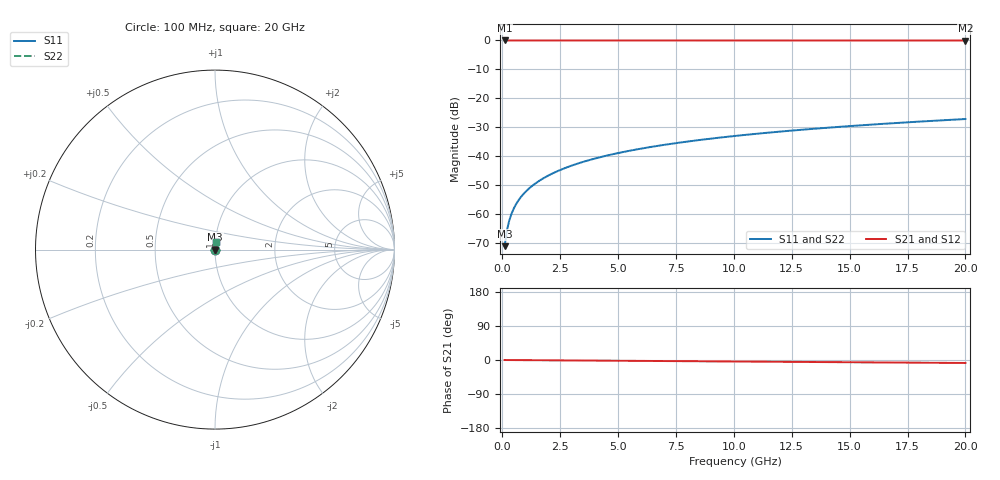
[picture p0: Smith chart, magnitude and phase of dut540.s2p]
! Touchstone file exported from HFSS 2026.1.0
!  File:  C:/ffzhzh/LocalFiles/Ansys_Project_Files/temp_train_TSV_540_1783023990_4048.aedt
!  Generated:  04:28:12 AM Jul  3, 2026
!  Design:  TSV
!  Project:  temp_train_TSV_540_1783023990_4048
! Variables:
!  h_bsmrdl = 2um
!  h_ox = 20um
!  h_rdl = 5um
!  h_sub = 68.24um
!  h_tmrdl = 5um
!  h_tsv = 68.24um
!  h_via = 3um
!  l_bsmrdl = 300um
!  l_sub = 420.02um
!  l_tmrdl = 200um
!  m_sub = 200um
!  pitch = 59.63um
!  r_tsv = 10.01um
!  s_tmrdl = 10um
!  w_bsmrdl = 18um
!  w_sub = 500um
!  w_tmrdl = 12um
!  x_tsv_center1 = 206um
!  x_tsv_center2 = 524um
!  x_tsv_center3 = 736um
!  x_tsv_center4 = 1054um
!  x_tsv_center5 = 1266um
!  x_tsv_center6 = 1584um
# GHz S MA R 50.000000
! Terminal data exported
! Port[1] = TSV1_1_T1
! Port[2] = TSV1_1_T2
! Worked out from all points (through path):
!   200 points, 100 MHz to 20 GHz, reference 50 ohm
!   highest |S21| = 0.00 dB at 100 MHz (marker M1); lowest = 0.0 dB at 20 GHz (marker M2)
!   group delay of S21, straight-line fit = 1.09 ps
!   lowest |S11| = -71.1 dB at 100 MHz (marker M3), VSWR 1.00, Z = 50 + j0.0255 ohm
!   |S11| at or under -10 dB: start of sweep to end of sweep
!   |S22| runs from -71.1 to -27.2 dB; largest |S21 - S12| = 2.2e-15
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0.1  0.0002777 66.6  0.9999 -0.0  0.9999 -0.0  0.0002777 66.6
! Gamma 0 0 0 0
! Port Impedance 50 0 50 0
0.2  0.0005218 76.7  0.9999 -0.1  0.9999 -0.1  0.0005218 76.7
0.3  0.000769 79.9  0.9999 -0.1  0.9999 -0.1  0.000769 79.9
0.4  0.001014 81.3  0.9998 -0.2  0.9998 -0.2  0.001014 81.3
0.5  0.001254 82.1  0.9998 -0.2  0.9998 -0.2  0.001254 82.1
0.6  0.001491 82.5  0.9998 -0.2  0.9998 -0.2  0.001491 82.5
0.7  0.001724 82.8  0.9998 -0.3  0.9998 -0.3  0.001724 82.8
0.9  0.002183 83.3  0.9998 -0.4  0.9998 -0.4  0.002183 83.3
1.1  0.002635 83.7  0.9997 -0.4  0.9997 -0.4  0.002635 83.7
1.3  0.003084 84.0  0.9997 -0.5  0.9997 -0.5  0.003084 84.0
1.6  0.003754 84.4  0.9997 -0.6  0.9997 -0.6  0.003754 84.4
1.9  0.004423 84.8  0.9996 -0.8  0.9996 -0.8  0.004423 84.8
2.6  0.005982 85.2  0.9996 -1.0  0.9996 -1.0  0.005982 85.2
3.5  0.007984 85.4  0.9995 -1.4  0.9995 -1.4  0.007984 85.4
4.2  0.009535 85.4  0.9995 -1.7  0.9995 -1.7  0.009535 85.4
5  0.0113 85.3  0.9994 -2.0  0.9994 -2.0  0.0113 85.3
6.8  0.01526 84.9  0.9993 -2.7  0.9993 -2.7  0.01526 84.9
8.3  0.01854 84.6  0.9991 -3.3  0.9991 -3.3  0.01854 84.6
10.1  0.02246 84.0  0.999 -4.0  0.999 -4.0  0.02246 84.0
13.4  0.02962 83.0  0.9987 -5.3  0.9987 -5.3  0.02962 83.0
16.7  0.03674 81.9  0.9983 -6.6  0.9983 -6.6  0.03674 81.9
20  0.0438 80.7  0.998 -7.9  0.998 -7.9  0.0438 80.7
